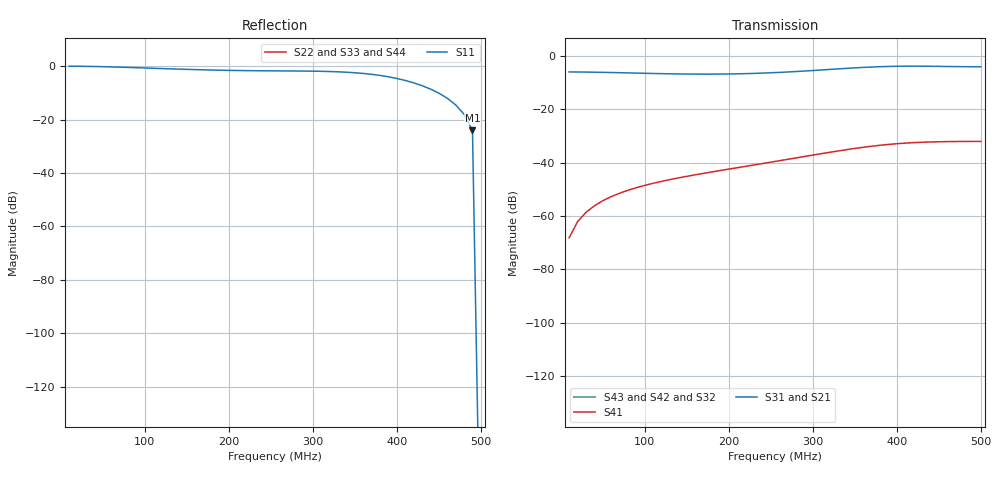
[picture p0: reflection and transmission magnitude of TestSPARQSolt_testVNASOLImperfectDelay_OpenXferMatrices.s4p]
# MHz MA S R 50.0
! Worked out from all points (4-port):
!   50 points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, 10 MHz to 500 MHz, reference 50 ohm
!   strongest paths, dB at 10 MHz, 130 MHz, 260 MHz, 380 MHz, 500 MHz:
!     S31: -6.0, -6.7, -6.2, -4.1, -4.1
!     S21: -6.0, -6.7, -6.2, -4.1, -4.1
!     S41: -68.1, -46.3, -39.3, -33.5, -32.0
!     S43: -, -, -, -, -
!     S42: -, -, -, -, -
!     S32: -, -, -, -, -
!   lowest |S11| = -24.0 dB at 490 MHz (marker M1), VSWR 1.13, Z = 48.9 + j6.12 ohm
!   |S11| at or under -10 dB: 449.2 MHz to end of sweep
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10  0.999 -5.0  0 0.0  0 0.0  0 0.0
    0.4996 -3.9  0 0.0  0 0.0  0 0.0
    0.4996 -6.1  0 0.0  0 0.0  0 0.0
    0.000392 85.0  0 0.0  0 0.0  0 0.0
50  0.9769 -24.7  0 0.0  0 0.0  0 0.0
    0.4908 -19.1  0 0.0  0 0.0  0 0.0
    0.4908 -30.4  0 0.0  0 0.0  0 0.0
    0.001934 65.3  0 0.0  0 0.0  0 0.0
160  0.8614 -73.3  0 0.0  0 0.0  0 0.0
     0.4554 -54.4  0 0.0  0 0.0  0 0.0
     0.4554 -92.3  0 0.0  0 0.0  0 0.0
     0.005919 16.7  0 0.0  0 0.0  0 0.0
320  0.7931 -146.4  0 0.0  0 0.0  0 0.0
     0.5566 -101.8  0 0.0  0 0.0  0 0.0
     0.5566 169.1  0 0.0  0 0.0  0 0.0
     0.01562 -56.4  0 0.0  0 0.0  0 0.0
410  0.5397 153.0  0 0.0  0 0.0  0 0.0
     0.6402 -141.9  0 0.0  0 0.0  0 0.0
     0.6402 87.9  0 0.0  0 0.0  0 0.0
     0.02322 -117.0  0 0.0  0 0.0  0 0.0
490  0.06282 96.8  0 0.0  0 0.0  0 0.0
     0.6255 -176.1  0 0.0  0 0.0  0 0.0
     0.6255 9.6  0 0.0  0 0.0  0 0.0
     0.02499 -173.2  0 0.0  0 0.0  0 0.0
500  0 -180.0  0 0.0  0 0.0  0 0.0
     0.625 180.0  0 0.0  0 0.0  0 0.0
     0.625 -0.0  0 0.0  0 0.0  0 0.0
     0.025 180.0  0 0.0  0 0.0  0 0.0
